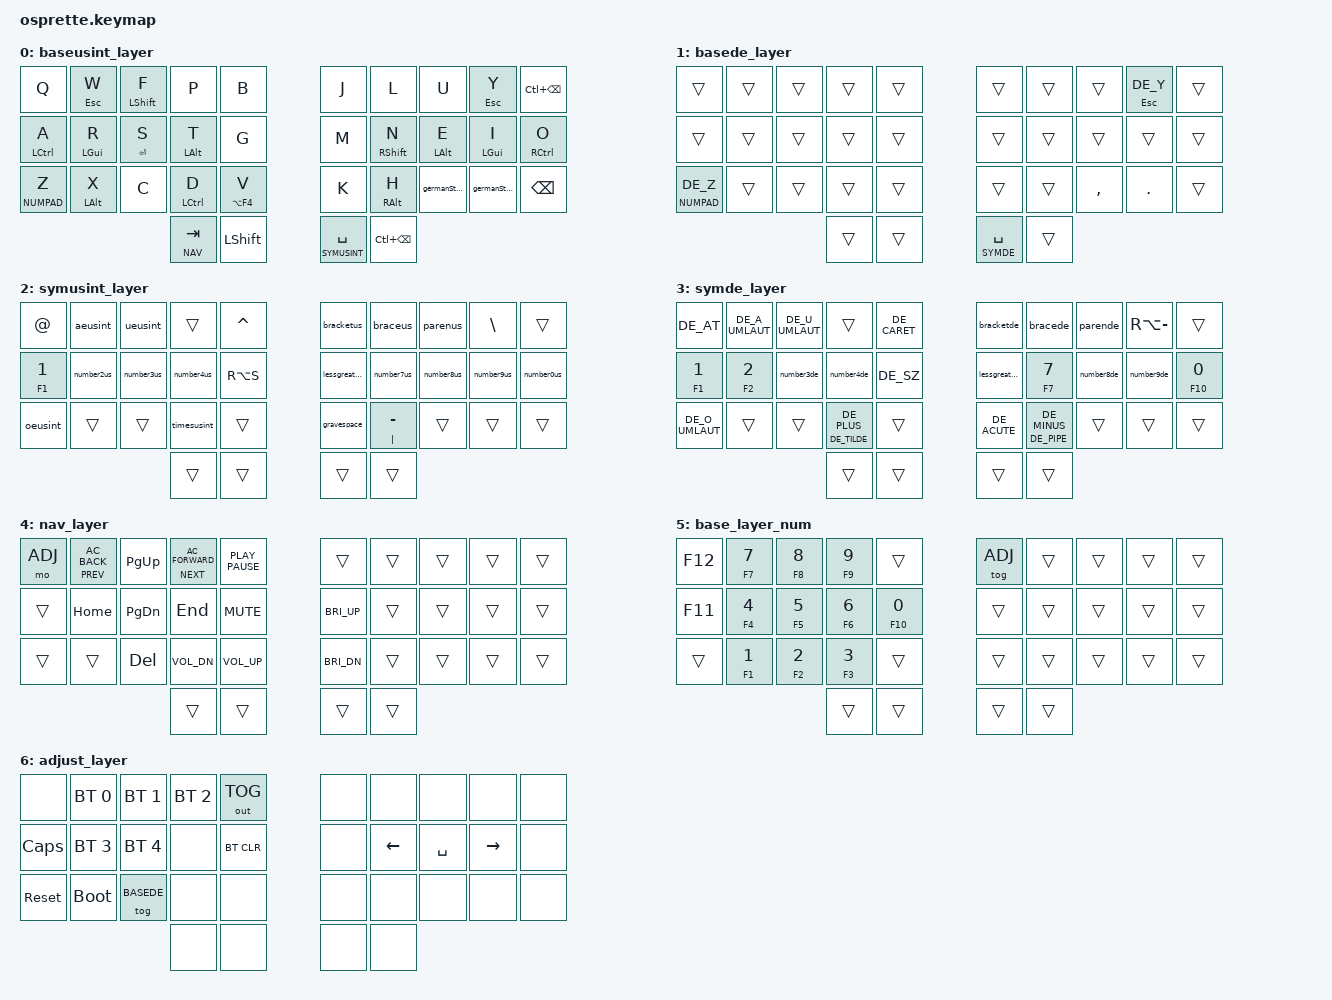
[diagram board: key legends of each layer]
/*
 * Copyright (c) 2020 The ZMK Contributors
 *
 * SPDX-License-Identifier: MIT
 */

#include <behaviors.dtsi>
#include <dt-bindings/zmk/keys.h>
#include <dt-bindings/zmk/bt.h>
#include <dt-bindings/zmk/outputs.h>
#include "keys_de.h"
#include <dt-bindings/zmk/ext_power.h>
//#include "../zmk-nodefree-config/helper.h"




#define XXX &none
#define ___ &trans

#define BASEUSINT 0
#define BASEDE 1
#define SYMUSINT 2
#define SYMDE 3
#define NAV 4
#define NUMPAD 5
#define ADJ 6

#include <dt-bindings/zmk/matrix_transform.h>

/ {
    chosen {
        //zmk,kscan = &kscan0;
        zmk,matrix-transform = &default_transform;
    };

    default_transform: keymap_transform_0 {
        compatible = "zmk,matrix-transform";
        columns = <10>;
        rows = <4>;
        map = <
        RC(0,0) RC(0,1) RC(0,2) RC(0,3) RC(0,4) RC(0,5) RC(0,6) RC(0,7) RC(0,8) RC(0,9)
        RC(1,0) RC(1,1) RC(1,2) RC(1,3) RC(1,4) RC(1,5) RC(1,6) RC(1,7) RC(1,8) RC(1,9)
        RC(2,0) RC(2,1) RC(2,2) RC(2,3) RC(2,4) RC(2,5) RC(2,6) RC(2,7) RC(2,8) RC(2,9)
                                RC(3,3) RC(3,4) RC(3,5) RC(3,6)
        >;
    };

    kscan0: kscan_0 {
        compatible = "zmk,kscan-gpio-matrix";
        diode-direction = "row2col";

        col-gpios
            = <&pro_micro 14 (GPIO_ACTIVE_HIGH | GPIO_PULL_DOWN)>
            , <&pro_micro 15 (GPIO_ACTIVE_HIGH | GPIO_PULL_DOWN)>
            , <&pro_micro 18 (GPIO_ACTIVE_HIGH | GPIO_PULL_DOWN)>
            , <&pro_micro 19 (GPIO_ACTIVE_HIGH | GPIO_PULL_DOWN)>
            , <&pro_micro 20 (GPIO_ACTIVE_HIGH | GPIO_PULL_DOWN)>
            , <&pro_micro 3 (GPIO_ACTIVE_HIGH | GPIO_PULL_DOWN)>
            , <&pro_micro 4 (GPIO_ACTIVE_HIGH | GPIO_PULL_DOWN)>
            , <&pro_micro 5 (GPIO_ACTIVE_HIGH | GPIO_PULL_DOWN)>
            , <&pro_micro 6 (GPIO_ACTIVE_HIGH | GPIO_PULL_DOWN)>
            , <&pro_micro 7 (GPIO_ACTIVE_HIGH | GPIO_PULL_DOWN)>
            ;

        row-gpios
            = <&pro_micro 16 GPIO_ACTIVE_HIGH>
            , <&pro_micro 10 GPIO_ACTIVE_HIGH>
            , <&pro_micro 8 GPIO_ACTIVE_HIGH>
            , <&pro_micro 9 GPIO_ACTIVE_HIGH>
            ;
    };
            /*                KEY POSITIONS
  ╭────────────────────╮ ╭────────────────────╮
  │  0   1   2   3   4 │ │  5   6   7   8   9 │
  │ 10  11  12  13  14 │ │ 15  16  17  18  19 │
  │ 20  21  22  23  24 │ │ 25  26  27  28  29 │
  ╰───────────╮ 30  31 │ │ 32  33 ╭───────────╯
              ╰────────╯ ╰────────╯            */

//ZMK_COMBO(pwr,  &kp C_POWER, 0 4, ALL)
    combos {
        compatible = "zmk,combos";
        combo_pwr {
            timeout-ms = <50>;
            key-positions = <0 4>;
            bindings = <&kp C_POWER>;
        };

            combo_five {
            timeout-ms = <50>;  // You may adjust this value based on your requirements
            key-positions = <3 13>;
            bindings = <&kp N5>;
        };
            combo_sixde {
            timeout-ms = <50>;  // You may adjust this value based on your requirements
            key-positions = <6 16>;
            bindings = <&kp N6>;
            layers = <BASEDE>;
        };
            combo_sixus {
            timeout-ms = <50>;  // You may adjust this value based on your requirements
            key-positions = <6 16>;
            bindings = <&number6us>;
            layers = <BASEUSINT SYMUSINT>;
        };
            combo_up {
            timeout-ms = <20>;  // You may adjust this value based on your requirements
            key-positions = <11 12 13>;
            bindings = <&kp UP>;
        };
            combo_down {
            timeout-ms = <20>;  // You may adjust this value based on your requirements
            key-positions = <11 13>;
            bindings = <&kp DOWN>;
        };
            combo_right {
            timeout-ms = <20>;  // You may adjust this value based on your requirements
            key-positions = <12 13>;
            bindings = <&kp RIGHT>;
        };
            combo_left {
            timeout-ms = <20>;  // You may adjust this value based on your requirements
            key-positions = <11 12>;
            bindings = <&kp LEFT>;
        };
        combo_uprhand {
            timeout-ms = <20>;  // You may adjust this value based on your requirements
            key-positions = <16 17 18>;
            bindings = <&kp UP>;
        };
            combo_downrhand {
            timeout-ms = <20>;  // You may adjust this value based on your requirements
            key-positions = <16 18>;
            bindings = <&kp DOWN>;
        };
            combo_rightrhand {
            timeout-ms = <20>;  // You may adjust this value based on your requirements
            key-positions = <17 18>;
            bindings = <&kp RIGHT>;
        };
            combo_leftrhand {
            timeout-ms = <20>;  // You may adjust this value based on your requirements
            key-positions = <16 17>;
            bindings = <&kp LEFT>;
        };
            combo_scCombo {
            timeout-ms = <50>;  // You may adjust this value based on your requirements
            key-positions = <12 22>;
            bindings = <&scModMorph>;
            layers = <BASEDE BASEUSINT>;
        };
            combo_ecommaCombo {
            timeout-ms = <50>;  // You may adjust this value based on your requirements
            key-positions = <17 27>;
            bindings = <&ecomma>;
            layers = <BASEDE BASEUSINT>;
        };
    };







//macros

macros {
    ecomma: ecomma {
    compatible = "zmk,behavior-macro";
    #binding-cells = <0>;
    bindings
        = <&macro_tap &kp E &kp COMMA>
        ;
    };
    sc: sc {
        compatible = "zmk,behavior-macro";
        #binding-cells = <0>;
        bindings
            = <&macro_tap &kp S &kp C>
            ;
    };
    capitalSlowC: capitalSlowC {
    compatible = "zmk,behavior-macro";
    #binding-cells = <0>;
    bindings
        = <&macro_tap &kp LS(S) &kp C>
        ;
    };
    bracketde: bracketde {
    compatible = "zmk,behavior-macro";
    #binding-cells = <0>;
    bindings
        = <&macro_tap &kp DE_LEFT_BRACKET &kp DE_RIGHT_BRACKET &kp LEFT>
        ;
    };
    bracede: bracede {
    compatible = "zmk,behavior-macro";
    #binding-cells = <0>;
    bindings
        = <&macro_tap &kp DE_LEFT_BRACE &kp DE_RIGHT_BRACE &kp LEFT>
        ;
    };
    parende: parende {
    compatible = "zmk,behavior-macro";
    #binding-cells = <0>;
    bindings
        = <&macro_tap &kp DE_LEFT_PARENTHESIS &kp DE_RIGHT_PARENTHESIS &kp LEFT>
        ;
    };
    lessgreaterde: lessgreaterde {
    compatible = "zmk,behavior-macro";
    #binding-cells = <0>;
    bindings
        = <&macro_tap &kp DE_LESS_THAN &kp DE_GREATER_THAN &kp LEFT>
        ;
    };
    bracketus: bracketus {
    compatible = "zmk,behavior-macro";
    #binding-cells = <0>;
    bindings
        = <&macro_tap &kp LEFT_BRACKET &kp RIGHT_BRACKET &kp LEFT>
        ;
    };
    braceus: braceus {
    compatible = "zmk,behavior-macro";
    #binding-cells = <0>;
    bindings
        = <&macro_tap &kp LEFT_BRACE &kp RIGHT_BRACE &kp LEFT>
        ;
    };
    parenus: parenus {
    compatible = "zmk,behavior-macro";
    #binding-cells = <0>;
    bindings
        = <&macro_tap &kp LEFT_PARENTHESIS &kp RIGHT_PARENTHESIS &kp LEFT>
        ;
    };
    lessgreaterus: lessgreaterus {
    compatible = "zmk,behavior-macro";
    #binding-cells = <0>;
    bindings
        = <&macro_tap &kp LT &kp GT &kp LEFT>
        ;
    };
    // "
    qouteusint: qouteusint {
    compatible = "zmk,behavior-macro";
    #binding-cells = <0>;
    bindings
        = <&macro_tap &kp LS(APOS) &kp SPC>
        ;
    };
    // '
    singleqouteusint: singleqouteusint {
    compatible = "zmk,behavior-macro";
    #binding-cells = <0>;
    bindings
        = <&macro_tap &kp APOS &kp SPC>
        ;
    };
        // ö
    oeusint: oeusint {
    compatible = "zmk,behavior-macro";
    #binding-cells = <0>;
    bindings 
        = <&macro_tap &kp LS(APOS) &kp O>
        ;
    };
            // ue
    ueusint: ueusint {
    compatible = "zmk,behavior-macro";
    #binding-cells = <0>;
    bindings 
        = <&macro_tap &kp LS(APOS) &kp U>
        ;
    };
            // ae
    aeusint: aeusint {
    compatible = "zmk,behavior-macro";
    #binding-cells = <0>;
    bindings 
        = <&macro_tap &kp LS(APOS) &kp A> 
        ;
    };
    // caret us ^
        caretus: caretus {
    compatible = "zmk,behavior-macro";
    #binding-cells = <0>;
    bindings 
        = <&macro_tap &kp CARET &kp SPC> 
        ;
    };
        // grave space`
    gravespace: gravespace {
    compatible = "zmk,behavior-macro";
    #binding-cells = <0>;
    bindings 
        = <&macro_tap &kp GRAVE &kp SPC> 
        ;
    };
    



};



 


//mod morph
 
    behaviors {
        //home row mods

        hm: hm {
            compatible = "zmk,behavior-hold-tap";
            #binding-cells = <2>;
            flavor = "tap-preferred";
            tapping-term-ms = <200>;
            quick-tap-ms = <200>;
            global-quick-tap;
            require-prior-idle-ms = <125>;
            bindings = <&kp>, <&kp>;
        };
        hmhold: hmhold {
            compatible = "zmk,behavior-hold-tap";
            #binding-cells = <2>;
            flavor = "hold-preferred";
            tapping-term-ms = <200>;
            bindings = <&mo>, <&kp>;
        };

        //mod morph
        scModMorph: scModMorph{
            compatible = "zmk,behavior-mod-morph";
            #binding-cells = <0>;
            bindings = <&sc>, <&capitalSlowC>;
            mods = <(MOD_LSFT|MOD_RSFT)>;
        };
        germanStyleDot: germanStyleDot {
            compatible = "zmk,behavior-mod-morph";
            #binding-cells = <0>;
            bindings = <&kp DOT>, <&kp COLON>;
            mods = <(MOD_LSFT|MOD_RSFT)>;
        };
        germanStyeComma: germanStyeComma {
            compatible = "zmk,behavior-mod-morph";
            #binding-cells = <0>;
            bindings = <&kp COMMA>, <&kp SEMICOLON>;
            mods = <(MOD_LSFT|MOD_RSFT)>;
        };

        number3de: number3de {
            compatible = "zmk,behavior-mod-morph";
            #binding-cells = <0>;
            bindings = <&hm F3 N3>, <&kp DE_SQT>;
            mods = <(MOD_LSFT|MOD_RSFT)>;
        };

        number4de: number4de {
            compatible = "zmk,behavior-mod-morph";
            #binding-cells = <0>;
            bindings = <&hm F4 N4>, <&hm DE_EURO DE_DOLLAR>;
            mods = <(MOD_LSFT|MOD_RSFT)>;
        };
        number8de: number8de {
            compatible = "zmk,behavior-mod-morph";
            #binding-cells = <0>;
            bindings = <&hm F8 N8>, <&kp DE_HASH>;
            mods = <(MOD_LSFT|MOD_RSFT)>;
        };
        number9de: number9de {
            compatible = "zmk,behavior-mod-morph";
            #binding-cells = <0>;
            bindings = <&hm F9 N9>, <&kp DE_QMARK>;
            mods = <(MOD_LSFT|MOD_RSFT)>;
        };
        number2us: number2us {
            compatible = "zmk,behavior-mod-morph";
            #binding-cells = <0>;
            bindings = <&hm F2 N2>, <&qouteusint >;
            mods = <(MOD_LSFT|MOD_RSFT)>;
        };
        number3us: number3us {
            compatible = "zmk,behavior-mod-morph";
            #binding-cells = <0>;
            bindings = <&hm F3 N3>, <&singleqouteusint>;
            mods = <(MOD_LSFT|MOD_RSFT)>;
        };
        number4us: number4us {
            compatible = "zmk,behavior-mod-morph";
            #binding-cells = <0>;
            bindings = <&hm F4 N4>, <&hm RA(N5) DOLLAR>;
            mods = <(MOD_LSFT|MOD_RSFT)>;
        };
        number6us: number6us {
            compatible = "zmk,behavior-mod-morph";
            #binding-cells = <0>;
            bindings = <&hm F6 N6>, <&kp LS(N7)>;
            mods = <(MOD_LSFT|MOD_RSFT)>;
        };
        number7us: number7us {
            compatible = "zmk,behavior-mod-morph";
            #binding-cells = <0>;
            bindings = <&hm F7 N7>, <&kp SLASH>;
            mods = <(MOD_LSFT|MOD_RSFT)>;
        };
        number8us: number8us {
            compatible = "zmk,behavior-mod-morph";
            #binding-cells = <0>;
            bindings = <&hm F8 N8>, <&kp LS(N3)>;
            mods = <(MOD_LSFT|MOD_RSFT)>;
        };
        number9us: number9us {
            compatible = "zmk,behavior-mod-morph";
            #binding-cells = <0>;
            bindings = <&hm F9 N9>, <&kp QMARK>;
            mods = <(MOD_LSFT|MOD_RSFT)>;
        };
        number0us: number0us {
            compatible = "zmk,behavior-mod-morph";
            #binding-cells = <0>;
            bindings = <&hm F10 N0>, <&kp EQUAL>;
            mods = <(MOD_LSFT|MOD_RSFT)>;
        };

        timesusint: timesusint {
            compatible = "zmk,behavior-mod-morph";
            #binding-cells = <0>;
            bindings = <&hm TILDE PLUS>, <&kp LS(N8)>;
            mods = <(MOD_LSFT|MOD_RSFT)>;
        };
        caretusmodmorph: caretusmodmorph { // ^ °
            compatible = "zmk,behavior-mod-morph";
            #binding-cells = <0>;
            bindings = <&caretus>, <&kp LS(RA(N0))>;
            mods = <(MOD_LSFT|MOD_RSFT)>;
        };       
    };








  keymap {
    compatible = "zmk,keymap";

    baseusint_layer {
      bindings = <
        // ╭─────────────┬─────────────┬─────────────┬─────────────┬─────────────╮   ╭─────────────┬─────────────┬─────────────┬─────────────┬─────────────╮
                 &kp Q      &hm ESC W    &hm LSHIFT F    &kp P         &kp B             &kp J          &kp L        &kp U       &hm ESC Y  &kp LC(BSPC)
        // ├─────────────┼─────────────┼─────────────┼─────────────┼─────────────┤   ├─────────────┼─────────────┼─────────────┼─────────────┼─────────────┤
            &hm LCTRL A     &hm LGUI R    &hm RET S    &hm LALT T      &kp G         &kp M       &hm RSHFT N   &hm LALT E    &hm LGUI I    &hm RCTRL O
        // ├─────────────┼─────────────┼─────────────┼─────────────┼─────────────┤   ├─────────────┼─────────────┼─────────────┼─────────────┼─────────────┤
          &lt NUMPAD Z   &hm LALT X      &kp C      &hm LCTRL D   &hm LA(F4) V        &kp K       &hm RALT H    &germanStyeComma &germanStyleDot &kp BSPC
        // ╰─────────────┴─────────────┴─────────────┼─────────────┼─────────────┤   ├─────────────┼─────────────┼─────────────┴─────────────┴─────────────╯
                                                       &hmhold NAV TAB   &kp LSHFT    &lt SYMUSINT SPC &kp LC(BSPC)
        //                                           ╰─────────────┴─────────────╯   ╰─────────────┴─────────────╯
      >;
    };

    basede_layer {
      bindings = <
        // ╭─────────────┬─────────────┬─────────────┬─────────────┬─────────────╮   ╭─────────────┬─────────────┬─────────────┬─────────────┬─────────────╮
                 ___           ___           ___           ___           ___               ___           ___           ___       &hm ESC DE_Y      ___
        // ├─────────────┼─────────────┼─────────────┼─────────────┼─────────────┤   ├─────────────┼─────────────┼─────────────┼─────────────┼─────────────┤
                 ___           ___           ___           ___           ___               ___           ___           ___           ___           ___
        // ├─────────────┼─────────────┼─────────────┼─────────────┼─────────────┤   ├─────────────┼─────────────┼─────────────┼─────────────┼─────────────┤
            &lt NUMPAD DE_Z    ___           ___           ___           ___               ___           ___        &kp COMMA       &kp DOT        ___
        // ╰─────────────┴─────────────┴─────────────┼─────────────┼─────────────┤   ├─────────────┼─────────────┼─────────────┴─────────────┴─────────────╯
                                                           ___           ___           &lt SYMDE SPC     ___
        //                                           ╰─────────────┴─────────────╯   ╰─────────────┴─────────────╯
      >;
    };
      

      symusint_layer {
      bindings = <
        // ╭─────────────┬─────────────┬─────────────┬─────────────┬─────────────╮   ╭─────────────┬─────────────┬─────────────┬─────────────┬─────────────╮
               &kp AT       &aeusint     &ueusint          ___      &kp CARET         &bracketus    &braceus     &parenus     &kp BACKSLASH     ___
        // ├─────────────┼─────────────┼─────────────┼─────────────┼─────────────┤   ├─────────────┼─────────────┼─────────────┼─────────────┼─────────────┤
               &hm F1 N1   &number2us    &number3us     &number4us   &kp RA(S)      &lessgreaterus   &number7us    &number8us   &number9us     &number0us
        // ├─────────────┼─────────────┼─────────────┼─────────────┼─────────────┤   ├─────────────┼─────────────┼─────────────┼─────────────┼─────────────┤
             &oeusint         ___            ___     &timesusint         ___       &gravespace  &hm PIPE MINUS     ___           ___           ___
        // ╰─────────────┴─────────────┴─────────────┼─────────────┼─────────────┤   ├─────────────┼─────────────┼─────────────┴─────────────┴─────────────╯
                                                           ___           ___               ___          ___
        //                                           ╰─────────────┴─────────────╯   ╰─────────────┴─────────────╯
      >;
    };

    symde_layer {
      bindings = <
        // ╭─────────────┬─────────────┬─────────────┬─────────────┬─────────────╮   ╭─────────────┬─────────────┬─────────────┬─────────────┬─────────────╮
            &kp DE_AT   &kp DE_A_UMLAUT &kp DE_U_UMLAUT    ___      &kp DE_CARET    &bracketde     &bracede       &parende     &kp RA(MINUS)     ___
        // ├─────────────┼─────────────┼─────────────┼─────────────┼─────────────┤   ├─────────────┼─────────────┼─────────────┼─────────────┼─────────────┤
               &hm F1 N1   &hm F2 N2    &number3de        &number4de &kp DE_SZ    &lessgreaterde   &hm F7 N7    &number8de    &number9de     &hm F10 N0
        // ├─────────────┼─────────────┼─────────────┼─────────────┼─────────────┤   ├─────────────┼─────────────┼─────────────┼─────────────┼─────────────┤
        &kp DE_O_UMLAUT      ___            ___     &hm DE_TILDE DE_PLUS ___          &kp DE_ACUTE &hm DE_PIPE DE_MINUS ___           ___           ___
        // ╰─────────────┴─────────────┴─────────────┼─────────────┼─────────────┤   ├─────────────┼─────────────┼─────────────┴─────────────┴─────────────╯
                                                           ___           ___               ___          ___
        //                                           ╰─────────────┴─────────────╯   ╰─────────────┴─────────────╯
      >;
    };



    nav_layer {
      bindings = <
        // ╭─────────────┬─────────────┬─────────────┬─────────────┬─────────────╮   ╭─────────────┬─────────────┬─────────────┬─────────────┬─────────────╮
               &mo ADJ &hm C_PREV C_AC_BACK &kp PG_UP &hm C_NEXT C_AC_FORWARD &kp K_PLAY_PAUSE    ___           ___           ___           ___           ___
        // ├─────────────┼─────────────┼─────────────┼─────────────┼─────────────┤   ├─────────────┼─────────────┼─────────────┼─────────────┼─────────────┤
                 ___        &kp HOME      &kp PG_DN      &kp END      &kp C_MUTE       &kp C_BRI_UP      ___           ___           ___           ___
        // ├─────────────┼─────────────┼─────────────┼─────────────┼─────────────┤   ├─────────────┼─────────────┼─────────────┼─────────────┼─────────────┤
                 ___           ___         &kp DEL     &kp C_VOL_DN  &kp C_VOL_UP      &kp C_BRI_DN      ___           ___           ___           ___
        // ╰─────────────┴─────────────┴─────────────┼─────────────┼─────────────┤   ├─────────────┼─────────────┼─────────────┴─────────────┴─────────────╯
                                                           ___           ___               ___           ___
        //                                           ╰─────────────┴─────────────╯   ╰─────────────┴─────────────╯
      >;
    };


    base_layer_num {
      bindings = <
        // ╭─────────────┬─────────────┬─────────────┬─────────────┬─────────────╮   ╭─────────────┬─────────────┬─────────────┬─────────────┬─────────────╮
               &kp F12      &hm F7 N7     &hm F8 N8    &hm F9 N9         ___               &tog ADJ           ___           ___           ___           ___
        // ├─────────────┼─────────────┼─────────────┼─────────────┼─────────────┤   ├─────────────┼─────────────┼─────────────┼─────────────┼─────────────┤
               &kp F11      &hm F4 N4     &hm F5 N5    &hm F6 N6     &hm F10 N0            ___           ___           ___           ___           ___
        // ├─────────────┼─────────────┼─────────────┼─────────────┼─────────────┤   ├─────────────┼─────────────┼─────────────┼─────────────┼─────────────┤
                 ___        &hm F1 N1     &hm F2 N2    &hm F3 N3         ___               ___           ___           ___           ___           ___
        // ╰─────────────┴─────────────┴─────────────┼─────────────┼─────────────┤   ├─────────────┼─────────────┼─────────────┴─────────────┴─────────────╯
                                                           ___           ___               ___           ___
        //                                           ╰─────────────┴─────────────╯   ╰─────────────┴─────────────╯
      >;
    };

    adjust_layer {
      bindings = <
        // ╭─────────────┬─────────────┬─────────────┬─────────────┬─────────────╮   ╭─────────────┬─────────────┬─────────────┬─────────────┬─────────────╮
             XXX           &bt BT_SEL 0 &bt BT_SEL 1 &bt BT_SEL 2   &out OUT_TOG           XXX           XXX           XXX           XXX           XXX
        // ├─────────────┼─────────────┼─────────────┼─────────────┼─────────────┤   ├─────────────┼─────────────┼─────────────┼─────────────┼─────────────┤
                &kp CAPS  &bt BT_SEL 3   &bt BT_SEL 4     XXX        &bt BT_CLR           XXX           &kp LEFT    &kp SPC           &kp RIGHT           XXX
        // ├─────────────┼─────────────┼─────────────┼─────────────┼─────────────┤   ├─────────────┼─────────────┼─────────────┼─────────────┼─────────────┤
            &sys_reset     &bootloader   &tog BASEDE       XXX           XXX               XXX           XXX           XXX       XXX    XXX
        // ╰─────────────┴─────────────┴─────────────┼─────────────┼─────────────┤   ├─────────────┼─────────────┼─────────────┴─────────────┴─────────────╯
                                                           XXX           XXX               XXX           XXX
        //                                           ╰─────────────┴─────────────╯   ╰─────────────┴─────────────╯
      >;
    };
  };
};
